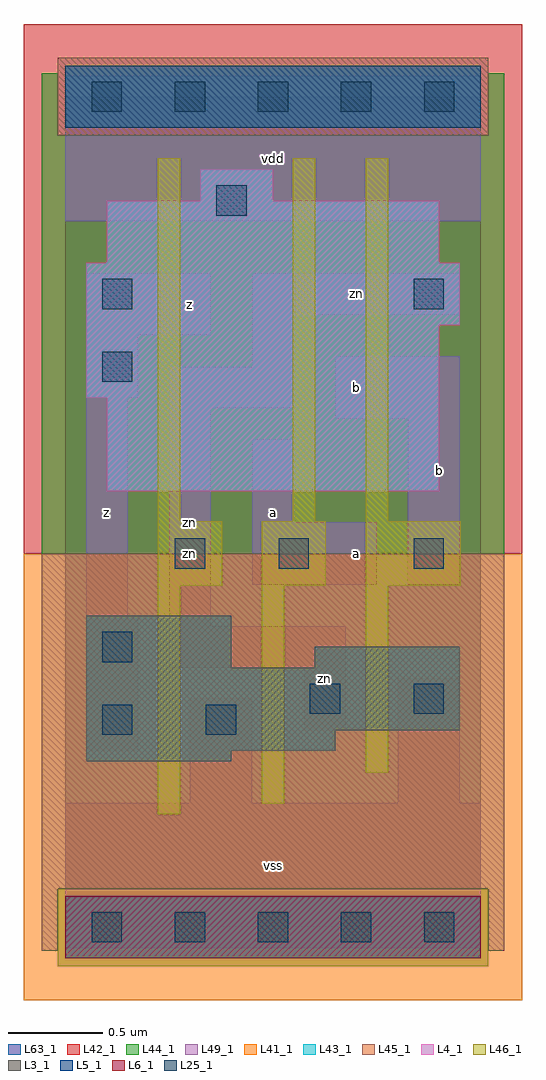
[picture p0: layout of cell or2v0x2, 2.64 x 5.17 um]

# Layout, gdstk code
import gdstk
lib = gdstk.Library(unit=1e-6, precision=1e-09)
def R(c, l, rs):  # rectangles x0, y0, x1, y1
    for r in rs: c.add(gdstk.rectangle(r[:2], r[2:], *l))
def A(c, l, x, y, w, h, nx, ny, dx, dy):  # array of equal rectangles
    R(c, l, [(x+i*dx, y+j*dy, x+i*dx+w, y+j*dy+h) for i in range(nx) for j in range(ny)])
L3_1 = (3, 1)
L4_1 = (4, 1)
L5_1 = (5, 1)
L6_1 = (6, 1)
L25_1 = (25, 1)
L41_1 = (41, 1)
L42_1 = (42, 1)
L43_1 = (43, 1)
L44_1 = (44, 1)
L45_1 = (45, 1)
L46_1 = (46, 1)
L49_1 = (49, 1)
L63_1 = (63, 1)

or2v0x2 = lib.new_cell('or2v0x2')
R(or2v0x2, L3_1, [(0.11,0.88,0.88,0.935), (0.11,0.935,1.43,1.045), (0.11,1.045,2.09,1.375), (0.11,1.375,0.88,1.65), (1.32,1.375,2.09,1.485)])
R(or2v0x2, L4_1, [(0.22,2.31,1.98,2.805), (0.11,2.805,1.98,3.19), (0.11,3.19,2.09,3.52), (0.22,3.52,1.98,3.85), (0.715,3.85,1.1,4.015)])
R(or2v0x2, L5_1, [(0,4.235,2.2,4.565)])
R(or2v0x2, L6_1, [(0,-0.165,2.2,0.165)])
A(or2v0x2, L25_1, 0.14, -0.08, 0.16, 0.16, 5, 2, 0.44, 4.4)
R(or2v0x2, L25_1, [(0.195,1.02,0.355,1.18), (0.745,1.02,0.905,1.18), (1.295,1.13,1.455,1.29), (1.845,1.13,2.005,1.29), (0.195,1.405,0.355,1.565), (0.58,1.9,0.74,2.06), (1.13,1.9,1.29,2.06), (1.845,1.9,2.005,2.06), (0.195,2.89,0.355,3.05), (0.195,3.275,0.355,3.435), (1.845,3.275,2.005,3.435), (0.8,3.77,0.96,3.93)])
R(or2v0x2, L41_1, [(-0.22,-0.385,2.42,1.98)])
R(or2v0x2, L42_1, [(-0.22,1.98,2.42,4.785)])
R(or2v0x2, L43_1, [(0,-0.165,2.2,0.165), (0.11,0.88,0.88,0.935), (0.11,0.935,1.43,1.045), (0.11,1.045,2.09,1.375), (0.11,1.375,0.88,1.65), (1.32,1.375,2.09,1.485), (0.22,2.31,1.98,2.805), (0.11,2.805,1.98,3.19), (0.11,3.19,2.09,3.52), (0.22,3.52,1.98,3.85), (0.715,3.85,1.1,4.015), (0,4.235,2.2,4.565)])
R(or2v0x2, L44_1, [(-0.04,-0.205,2.24,0.205), (-0.125,1.98,2.325,4.195), (-0.125,4.195,-0.04,4.525), (2.24,4.195,2.325,4.525)])
R(or2v0x2, L45_1, [(-0.125,-0.125,-0.04,0.205), (2.24,-0.125,2.325,0.205), (-0.125,0.205,2.325,1.98), (-0.04,4.195,2.24,4.605)])
R(or2v0x2, L46_1, [(0.49,0.6,0.61,1.81), (1.04,0.655,1.16,1.81), (1.59,0.82,1.71,1.81), (0.49,1.81,0.83,2.15), (1.04,1.81,1.38,2.15), (1.59,1.81,2.095,2.15), (0.49,2.15,0.61,4.075), (1.205,2.15,1.325,4.075), (1.59,2.15,1.71,4.075)])
R(or2v0x2, L49_1, [(0,-0.11,2.2,0.66), (0.66,0.66,0.99,1.21), (1.76,0.66,2.09,1.32), (0.11,0.935,0.385,1.65), (1.265,1.045,1.485,1.375), (0.55,1.375,1.485,1.595), (0.55,1.595,0.77,2.75), (0.11,1.65,0.33,2.805), (0.99,1.815,1.65,2.145), (1.815,1.815,2.09,2.695), (0.99,2.145,1.21,2.585), (1.43,2.695,2.09,3.025), (0.55,2.75,1.21,2.97), (0.11,2.805,0.385,3.135), (0.99,2.97,1.21,3.245), (0.11,3.135,0.77,3.465), (0.99,3.245,2.09,3.465), (0,3.74,2.2,4.51)])
R(or2v0x2, L63_1, [(0,0,2.2,4.4)])
or2v0x2.add(gdstk.Label('zn', (0.66,1.98), layer=49, texttype=1))
or2v0x2.add(gdstk.Label('z', (0.22,2.2), layer=49, texttype=1))
or2v0x2.add(gdstk.Label('zn', (0.66,2.145), layer=49, texttype=1))
or2v0x2.add(gdstk.Label('z', (0.66,3.3), layer=49, texttype=1))
or2v0x2.add(gdstk.Label('vss', (1.1,0.33), layer=49, texttype=1))
or2v0x2.add(gdstk.Label('zn', (1.375,1.32), layer=49, texttype=1))
or2v0x2.add(gdstk.Label('a', (1.54,1.98), layer=49, texttype=1))
or2v0x2.add(gdstk.Label('a', (1.1,2.2), layer=49, texttype=1))
or2v0x2.add(gdstk.Label('b', (1.54,2.86), layer=49, texttype=1))
or2v0x2.add(gdstk.Label('vdd', (1.1,4.07), layer=49, texttype=1))
or2v0x2.add(gdstk.Label('b', (1.98,2.42), layer=49, texttype=1))
or2v0x2.add(gdstk.Label('zn', (1.54,3.355), layer=49, texttype=1))

lib.write_gds('or2v0x2.gds')
